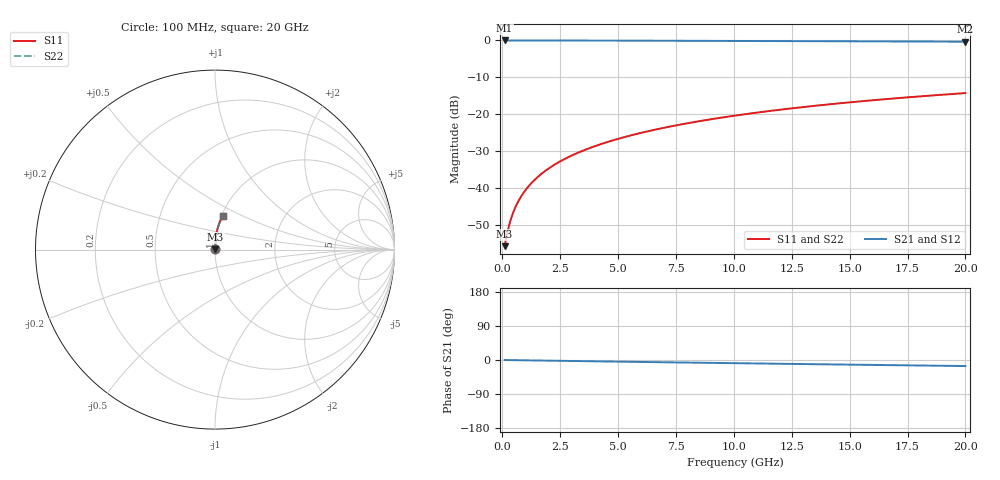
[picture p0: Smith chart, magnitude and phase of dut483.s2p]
! Touchstone file exported from HFSS 2024.1.0
!  File:  C:/UserFiles/LocalFiles/RDL_TSV_Batchsim/temp_RDL_top_483_1779678394.aedt
!  Generated:  11:08:36 AM May 25, 2026
!  Design:  RDL_top
!  Project:  temp_RDL_top_483_1779678394
!  Setup:  Setup1
!  Solution:  Sweep
! Variables:
!  dtsv = 10.80580581um
!  hbump = 3um
!  htsv = 92.89um
!  ldown = 100um
!  lrdl = 178.63um
!  p = 40
!  p1 = 48.66um
!  rhole = 1um
!  t = 450um
!  tdown = 3.915915916um
!  trdl = 3.3um
!  wdown = 15.38538539um
!  wrdl = 17.43um
# GHz S MA R 50.000000
! Terminal data exported
! Port[1] = Box2_T1
! Port[2] = Box2_T2
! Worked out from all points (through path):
!   200 points, 100 MHz to 20 GHz, reference 50 ohm
!   highest |S21| = -0.01 dB at 100 MHz (marker M1); lowest = -0.3 dB at 20 GHz (marker M2)
!   group delay of S21, straight-line fit = 2.2 ps
!   lowest |S11| = -55.8 dB at 100 MHz (marker M3), VSWR 1.00, Z = 50.1 + j0.0969 ohm
!   |S11| at or under -10 dB: start of sweep to end of sweep
!   |S22| runs from -55.8 to -14.3 dB; largest |S21 - S12| = 3.1e-15
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0.1  0.001626 36.5  0.9987 -0.1  0.9987 -0.1  0.001626 36.5
! Gamma 0 0 0 0
! Port Impedance 50 0 50 0
0.2  0.002342 55.1  0.9987 -0.2  0.9987 -0.2  0.002342 55.1
0.3  0.003172 64.2  0.9986 -0.3  0.9986 -0.3  0.003172 64.2
0.4  0.004033 69.4  0.9985 -0.4  0.9985 -0.4  0.004033 69.4
0.5  0.004905 72.7  0.9985 -0.5  0.9985 -0.5  0.004905 72.7
0.6  0.005783 75.1  0.9984 -0.5  0.9984 -0.5  0.005783 75.1
0.8  0.007549 78.3  0.9983 -0.7  0.9983 -0.7  0.007549 78.3
1.1  0.01022 81.1  0.9982 -1.0  0.9982 -1.0  0.01022 81.1
1.5  0.01382 83.3  0.998 -1.3  0.998 -1.3  0.01382 83.3
1.8  0.01654 84.2  0.9977 -1.6  0.9977 -1.6  0.01654 84.2
2.1  0.01927 84.9  0.9975 -1.9  0.9975 -1.9  0.01927 84.9
2.7  0.02477 85.8  0.9969 -2.4  0.9969 -2.4  0.02477 85.8
3.5  0.03219 86.4  0.996 -3.1  0.996 -3.1  0.03219 86.4
4.2  0.03875 86.6  0.995 -3.7  0.995 -3.7  0.03875 86.6
5  0.04633 86.7  0.9937 -4.4  0.9937 -4.4  0.04633 86.7
5.9  0.05495 86.5  0.9922 -5.1  0.9922 -5.1  0.05495 86.5
6.8  0.06367 86.3  0.9905 -5.8  0.9905 -5.8  0.06367 86.3
8.3  0.07836 85.6  0.9875 -7.1  0.9875 -7.1  0.07836 85.6
10.1  0.09618 84.5  0.9838 -8.5  0.9838 -8.5  0.09618 84.5
13.4  0.129 82.2  0.9766 -11.0  0.9766 -11.0  0.129 82.2
16.7  0.1614 79.6  0.9691 -13.5  0.9691 -13.5  0.1614 79.6
20  0.1933 77.0  0.9613 -16.0  0.9613 -16.0  0.1933 77.0
